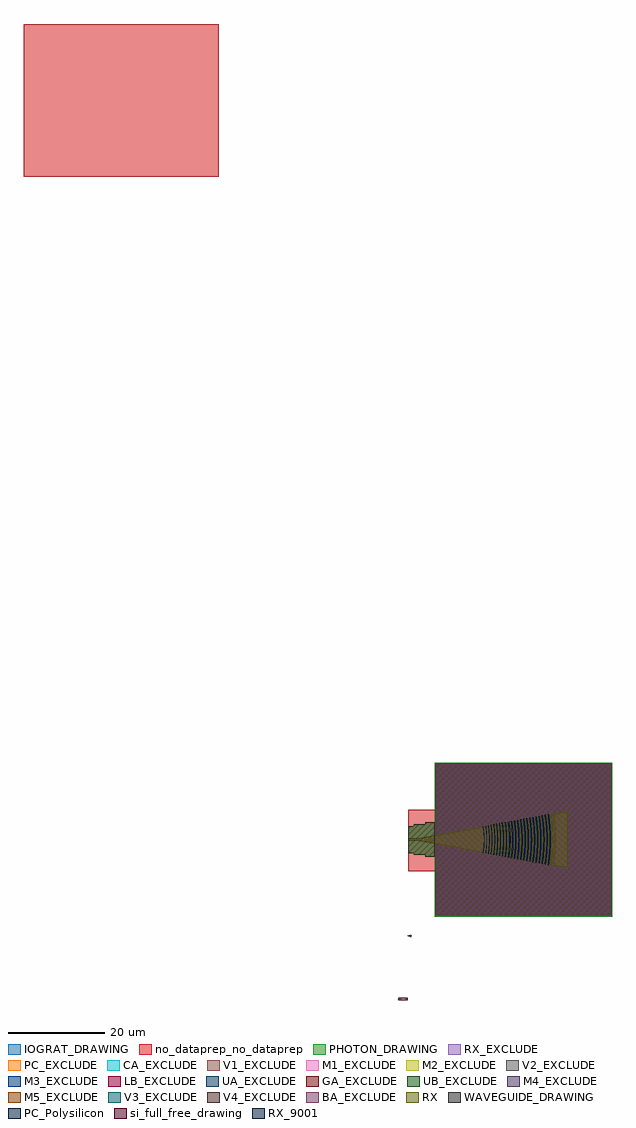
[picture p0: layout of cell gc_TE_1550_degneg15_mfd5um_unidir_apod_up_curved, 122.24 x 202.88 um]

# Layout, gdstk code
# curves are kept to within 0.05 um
import gdstk
lib = gdstk.Library(unit=1e-6, precision=1e-09)
def R(c, l, rs):  # rectangles x0, y0, x1, y1
    for r in rs: c.add(gdstk.rectangle(r[:2], r[2:], *l))
def P(c, l, *ps):  # polygons
    for p in ps: c.add(gdstk.Polygon(p, *l))
RX = (2, 0)
RX_EXCLUDE = (2, 2)
RX_9001 = (2, 9001)
PC_Polysilicon = (7, 0)
PC_EXCLUDE = (7, 2)
CA_EXCLUDE = (14, 2)
M1_EXCLUDE = (15, 2)
V1_EXCLUDE = (16, 3)
M2_EXCLUDE = (17, 2)
V2_EXCLUDE = (18, 3)
M3_EXCLUDE = (19, 2)
LB_EXCLUDE = (69, 2)
UA_EXCLUDE = (161, 2)
GA_EXCLUDE = (162, 2)
UB_EXCLUDE = (163, 2)
PHOTON_DRAWING = (212, 235)
WAVEGUIDE_DRAWING = (212, 239)
IOGRAT_DRAWING = (212, 252)
M4_EXCLUDE = (578, 2)
M5_EXCLUDE = (579, 2)
V3_EXCLUDE = (580, 2)
V4_EXCLUDE = (581, 2)
si_full_free_drawing = (1002, 100)
no_dataprep_no_dataprep = (1015, 0)
BA_EXCLUDE = (1560, 2)

gc_te_1550_degneg15_mfd5 = lib.new_cell('gc_TE_1550_degneg15_mfd5um_unidir_apod_up_curved$M0$')
R(gc_te_1550_degneg15_mfd5, RX_EXCLUDE, [(50,-157.6,414.2,157.6)])
P(gc_te_1550_degneg15_mfd5, RX_9001, [(-2.5,-202.5),(-10,-200),(-2.5,-197.5),(0,-200)])
R(gc_te_1550_degneg15_mfd5, PC_EXCLUDE, [(50,-157.6,414.2,157.6)])
R(gc_te_1550_degneg15_mfd5, CA_EXCLUDE, [(50,-157.6,414.2,157.6)])
R(gc_te_1550_degneg15_mfd5, M1_EXCLUDE, [(50,-157.6,414.2,157.6)])
R(gc_te_1550_degneg15_mfd5, V1_EXCLUDE, [(50,-157.6,414.2,157.6)])
R(gc_te_1550_degneg15_mfd5, M2_EXCLUDE, [(50,-157.6,414.2,157.6)])
R(gc_te_1550_degneg15_mfd5, V2_EXCLUDE, [(50,-157.6,414.2,157.6)])
R(gc_te_1550_degneg15_mfd5, M3_EXCLUDE, [(50,-157.6,414.2,157.6)])
R(gc_te_1550_degneg15_mfd5, LB_EXCLUDE, [(50,-157.6,414.2,157.6)])
R(gc_te_1550_degneg15_mfd5, UA_EXCLUDE, [(50,-157.6,414.2,157.6)])
R(gc_te_1550_degneg15_mfd5, GA_EXCLUDE, [(50,-157.6,414.2,157.6)])
R(gc_te_1550_degneg15_mfd5, UB_EXCLUDE, [(50,-157.6,414.2,157.6)])
R(gc_te_1550_degneg15_mfd5, M4_EXCLUDE, [(50,-157.6,414.2,157.6)])
R(gc_te_1550_degneg15_mfd5, M5_EXCLUDE, [(50,-157.6,414.2,157.6)])
R(gc_te_1550_degneg15_mfd5, V3_EXCLUDE, [(50,-157.6,414.2,157.6)])
R(gc_te_1550_degneg15_mfd5, V4_EXCLUDE, [(50,-157.6,414.2,157.6)])
R(gc_te_1550_degneg15_mfd5, no_dataprep_no_dataprep, [(-806.39,1378.23,-401.17,1695.43)])
R(gc_te_1550_degneg15_mfd5, BA_EXCLUDE, [(50,-157.6,414.2,157.6)])
gc_te_1550_degneg15_mfd5.add(gdstk.Label('sub!', (0,0), layer=61, texttype=31))
gc_te_1550_degneg15_mfd5.add(gdstk.Label('sub!', (0,0), layer=61, texttype=31))
gc_te_1550_degneg15_mfd5.add(gdstk.Label('PORT_IN', (0,0), layer=2, texttype=9001))
gc_te_1550_degneg15_mfd5.add(gdstk.Label('PORT_OUT', (0,-200), layer=2, texttype=9001))
gc_te_1550_degneg15_mfd5.add(gdstk.Label('PORT_OUT', (0,-200), layer=2, texttype=9001))
gc_te_1550_degneg15_mfd5.add(gdstk.Label('PORT_OUT', (0,0), layer=9015, texttype=9001))
gc_te_1550_degneg15_mfd5.add(gdstk.Label('GRATING_EDGE', (314.2,0), layer=9015, texttype=9001))
gc_te_1550_degneg15_mfd5.add(gdstk.Label('OTHERSIDE', (314.2,0), layer=9015, texttype=9001))

c_gc_te_1550_degneg15_mfd5 = lib.new_cell('gc_TE_1550_degneg15_mfd5um_unidir_apod_up_curved')
P(c_gc_te_1550_degneg15_mfd5, RX, [(15.395,-2.822),(1.364,-0.25),(-0.712,-0.25),(-0.712,0.25),(1.364,0.25),(15.395,2.822),(15.552,1.474),(15.61,0.087),(15.565,-1.301)],
  [(15.92,-2.919),(15.494,-2.84),(15.647,-1.542),(15.71,-0.087),(15.656,1.426),(15.494,2.84),(15.92,2.919),(16.088,1.525),(16.15,0.09),(16.088,-1.525)],
  [(16.472,-3.02),(16.058,-2.944),(16.237,-1.418),(16.29,-0.091),(16.237,1.418),(16.058,2.944),(16.472,3.02),(16.635,1.702),(16.71,0.093),(16.66,-1.392)],
  [(17.026,-3.121),(16.63,-3.049),(16.8,-1.656),(16.87,-0.094),(16.815,1.468),(16.63,3.049),(17.026,3.121),(17.204,1.631),(17.27,0.096),(17.214,-1.503)],
  [(17.6,-3.226),(17.223,-3.157),(17.403,-1.65),(17.47,-0.097),(17.418,1.456),(17.223,3.157),(17.6,3.226),(17.782,1.686),(17.85,0.099),(17.802,-1.421)],
  [(18.191,-3.335),(17.846,-3.272),(18.031,-1.709),(18.1,-0.101),(18.031,1.709),(17.846,3.272),(18.191,3.335),(18.385,1.674),(18.45,0.103),(18.385,-1.674)],
  [(18.794,-3.445),(18.457,-3.384),(18.643,-1.837),(18.72,-0.104),(18.654,1.699),(18.457,3.384),(18.794,3.445),(18.988,1.8),(19.06,0.106),(18.999,-1.659)],
  [(19.413,-3.559),(19.1,-3.501),(19.291,-1.901),(19.37,-0.108),(19.308,1.686),(19.1,3.501),(19.413,3.559),(19.615,1.86),(19.69,0.109),(19.615,-1.86)],
  [(20.033,-3.673),(19.708,-3.613),(19.914,-1.888),(19.99,-0.111),(19.914,1.888),(19.708,3.613),(20.033,3.673),(20.241,1.843),(20.31,0.113),(20.252,-1.693)],
  [(20.734,-3.801),(20.458,-3.75),(20.675,-1.805),(20.74,-0.115),(20.675,1.805),(20.458,3.75),(20.734,3.801),(20.95,1.986),(21.03,0.117),(20.968,-1.752)],
  [(21.354,-3.915),(21.07,-3.863),(21.295,-1.939),(21.37,-0.119),(21.307,1.781),(21.07,3.863),(21.354,3.915),(21.577,2.046),(21.66,0.12),(21.577,-2.046)],
  [(21.959,-4.026),(21.67,-3.973),(21.896,-2.076),(21.98,-0.122),(21.896,2.076),(21.67,3.973),(21.959,4.026),(22.179,2.186),(22.27,0.124),(22.192,-2.021)],
  [(22.6,-4.143),(22.314,-4.091),(22.551,-2.053),(22.63,-0.126),(22.551,2.053),(22.314,4.091),(22.6,4.143),(22.84,2.08),(22.92,0.127),(22.84,-2.08)],
  [(23.241,-4.261),(22.955,-4.208),(23.192,-2.199),(23.28,-0.129),(23.205,2.026),(22.955,4.208),(23.241,4.261),(23.481,2.226),(23.57,0.131),(23.481,-2.226)],
  [(23.882,-4.378),(23.596,-4.326),(23.832,-2.349),(23.93,-0.133),(23.853,2.083),(23.596,4.326),(23.882,4.378),(24.121,2.377),(24.22,0.135),(24.142,-2.108)],
  [(24.523,-4.496),(24.237,-4.443),(24.487,-2.321),(24.58,-0.137),(24.501,2.139),(24.237,4.443),(24.523,4.496),(24.776,2.349),(24.87,0.138),(24.797,-2.072)],
  [(25.163,-4.613),(24.877,-4.561),(25.142,-2.289),(25.23,-0.14),(25.149,2.196),(24.877,4.561),(25.163,4.613),(25.431,2.316),(25.52,0.142),(25.431,-2.316)],
  [(25.804,-4.731),(25.519,-4.678),(25.782,-2.444),(25.88,-0.144),(25.797,2.253),(25.519,4.678),(25.804,4.731),(26.071,2.472),(26.17,0.145),(26.086,-2.278)],
  [(26.445,-4.848),(26.16,-4.796),(26.437,-2.407),(26.53,-0.147),(26.452,2.211),(26.16,4.796),(26.445,4.848),(26.734,2.334),(26.82,0.149),(26.734,-2.334)],
  [(27.086,-4.966),(26.8,-4.913),(27.069,-2.668),(27.18,-0.151),(27.085,2.466),(26.8,4.913),(27.086,4.966),(27.366,2.594),(27.47,0.153),(27.374,-2.493)],
  [(27.727,-5.083),(27.441,-5.031),(27.716,-2.731),(27.83,-0.155),(27.748,2.319),(27.625,3.659),(27.441,5.031),(27.727,5.083),(28.005,2.76),(28.12,0.156),(28.037,-2.343),(27.913,-3.697)],
  [(28.368,-5.201),(28.082,-5.148),(28.372,-2.69),(28.48,-0.158),(28.396,2.373),(28.282,3.639),(28.082,5.148),(28.368,5.201),(28.661,2.717),(28.77,0.16),(28.685,-2.398),(28.558,-3.783)],
  [(29.009,-5.318),(28.723,-5.266),(29.011,-2.859),(29.13,-0.162),(29.108,1.241),(29.028,2.643),(28.723,5.266),(29.009,5.318),(29.317,2.67),(29.42,0.163),(29.405,-1.035),(29.317,-2.67)],
  [(31.42,-5.76),(29.364,-5.383),(29.676,-2.702),(29.78,-0.165),(29.676,2.702),(29.364,5.383),(31.42,5.76),(32.42,5.76),(32.42,-5.76)])
P(c_gc_te_1550_degneg15_mfd5, PC_Polysilicon, [(14.837,-2.761),(14.778,-2.75),(14.859,-2.194),(14.946,-1.361),(14.981,-0.806),(15,-0.083),(14.988,0.639),(14.962,1.139),(14.916,1.694),(14.866,2.139),(14.778,2.75),(14.837,2.761),(14.952,1.924),(15.022,1.143),(15.053,0.474),(15.056,-0.363),(15.006,-1.367),(14.919,-2.203)],
  [(15.369,-2.86),(15.31,-2.849),(15.429,-1.986),(15.484,-1.41),(15.528,-0.662),(15.54,-0.086),(15.528,0.662),(15.484,1.41),(15.429,1.986),(15.31,2.849),(15.369,2.86),(15.468,2.167),(15.544,1.416),(15.588,0.664),(15.6,0.087),(15.588,-0.664),(15.544,-1.416),(15.468,-2.167)],
  [(15.922,-2.963),(15.843,-2.948),(15.937,-2.293),(16.027,-1.4),(16.065,-0.744),(16.08,-0.089),(16.065,0.744),(16.027,1.4),(15.937,2.293),(15.843,2.948),(15.922,2.963),(16.024,2.244),(16.107,1.407),(16.145,0.748),(16.16,0.09),(16.145,-0.748),(16.107,-1.407),(16.024,-2.244)],
  [(16.475,-3.065),(16.386,-3.049),(16.498,-2.248),(16.566,-1.571),(16.615,-0.77),(16.63,-0.092),(16.615,0.77),(16.571,1.509),(16.498,2.248),(16.386,3.049),(16.475,3.065),(16.58,2.322),(16.645,1.703),(16.702,0.836),(16.72,0.093),(16.707,-0.712),(16.67,-1.393),(16.58,-2.322)],
  [(17.047,-3.172),(16.948,-3.153),(17.064,-2.325),(17.134,-1.624),(17.179,-0.924),(17.2,-0.096),(17.189,0.669),(17.144,1.497),(17.064,2.325),(16.948,3.153),(17.047,3.172),(17.163,2.339),(17.228,1.698),(17.284,0.801),(17.3,0.096),(17.289,-0.673),(17.248,-1.442),(17.163,-2.339)],
  [(17.639,-3.282),(17.521,-3.26),(17.64,-2.404),(17.712,-1.679),(17.764,-0.823),(17.78,-0.099),(17.764,0.823),(17.712,1.679),(17.64,2.404),(17.521,3.26),(17.639,3.282),(17.743,2.552),(17.826,1.757),(17.881,0.895),(17.9,0.099),(17.886,-0.762),(17.842,-1.558),(17.759,-2.42)],
  [(18.241,-3.394),(18.113,-3.37),(18.219,-2.621),(18.304,-1.804),(18.351,-1.123),(18.38,-0.102),(18.366,0.783),(18.315,1.668),(18.219,2.621),(18.113,3.37),(18.241,3.394),(18.348,2.639),(18.439,1.748),(18.496,0.788),(18.51,0.103),(18.496,-0.788),(18.45,-1.611),(18.356,-2.571)],
  [(18.863,-3.509),(18.715,-3.482),(18.833,-2.638),(18.912,-1.864),(18.987,-0.387),(18.984,0.528),(18.948,1.371),(18.857,2.427),(18.715,3.482),(18.863,3.509),(18.973,2.729),(19.067,1.808),(19.113,1.099),(19.14,0.106),(19.128,-0.744),(19.078,-1.666),(18.99,-2.587)],
  [(19.474,-3.623),(19.326,-3.595),(19.523,-1.997),(19.607,-0.399),(19.604,0.545),(19.552,1.634),(19.456,2.651),(19.326,3.595),(19.474,3.623),(19.605,2.671),(19.696,1.72),(19.76,0.11),(19.745,-0.842),(19.696,-1.72),(19.605,-2.671)],
  [(20.214,-3.76),(19.938,-3.709),(20.147,-1.986),(20.23,-0.112),(20.159,1.836),(19.938,3.709),(20.214,3.76),(20.432,1.937),(20.51,0.114),(20.444,-1.785)],
  [(20.807,-3.87),(20.56,-3.824),(20.781,-1.97),(20.86,-0.116),(20.793,1.816),(20.56,3.824),(20.807,3.87),(21.03,1.994),(21.11,0.117),(21.048,-1.759)],
  [(21.408,-3.982),(21.201,-3.943),(21.401,-2.35),(21.499,-0.757),(21.505,0.518),(21.452,1.713),(21.369,2.669),(21.201,3.943),(21.408,3.982),(21.638,2.051),(21.72,0.121),(21.697,-1.086),(21.638,-2.051)],
  [(22.049,-4.101),(21.842,-4.063),(22.04,-2.503),(22.151,-0.698),(22.155,0.533),(22.106,1.683),(21.997,2.914),(21.842,4.063),(22.049,4.101),(22.196,3.024),(22.292,2.03),(22.37,0.124),(22.35,-1.036),(22.292,-2.03),(22.196,-3.024)],
  [(22.689,-4.22),(22.482,-4.182),(22.702,-2.408),(22.803,-0.634),(22.803,0.634),(22.743,1.901),(22.642,2.999),(22.482,4.182),(22.689,4.22),(22.933,2.174),(23.02,0.128),(23.008,-0.81),(22.946,-2.004),(22.841,-3.112)],
  [(23.33,-4.34),(23.123,-4.301),(23.341,-2.563),(23.448,-0.825),(23.456,0.478),(23.397,1.868),(23.297,2.998),(23.123,4.301),(23.33,4.34),(23.573,2.323),(23.645,1.184),(23.67,0.131),(23.652,-1.008),(23.594,-2.06),(23.486,-3.2)],
  [(23.971,-4.459),(23.764,-4.42),(23.996,-2.545),(24.1,-0.759),(24.106,0.491),(24.057,1.741),(23.952,2.991),(23.764,4.42),(23.971,4.459),(24.131,3.288),(24.228,2.297),(24.32,0.135),(24.298,-1.126),(24.242,-2.117),(24.131,-3.288)],
  [(24.611,-4.578),(24.404,-4.539),(24.643,-2.614),(24.75,-0.779),(24.756,0.504),(24.711,1.697),(24.598,3.072),(24.404,4.539),(24.611,4.578),(24.868,2.451),(24.935,1.433),(24.97,0.139),(24.951,-1.064),(24.89,-2.173),(24.765,-3.468)],
  [(25.252,-4.697),(25.045,-4.658),(25.298,-2.588),(25.402,-0.706),(25.406,0.518),(25.348,1.929),(25.223,3.341),(25.045,4.658),(25.252,4.697),(25.398,3.653),(25.523,2.42),(25.589,1.376),(25.62,0.142),(25.597,-1.186),(25.523,-2.42),(25.398,-3.653)],
  [(25.893,-4.816),(25.686,-4.778),(25.928,-2.847),(26.054,-0.627),(26.054,0.627),(25.99,2.075),(25.879,3.33),(25.686,4.778),(25.893,4.816),(26.054,3.649),(26.178,2.384),(26.27,0.146),(26.25,-1.119),(26.178,-2.384),(26.054,-3.649)],
  [(26.533,-4.935),(26.326,-4.897),(26.565,-3.017),(26.699,-0.841),(26.707,0.445),(26.651,1.929),(26.535,3.314),(26.326,4.897),(26.533,4.935),(26.687,3.839),(26.81,2.642),(26.887,1.446),(26.92,0.15),(26.903,-1.047),(26.826,-2.443),(26.699,-3.739)],
  [(27.174,-5.054),(26.967,-5.016),(27.221,-2.989),(27.351,-0.76),(27.351,0.76),(27.293,2.077),(27.17,3.496),(26.967,5.016),(27.174,5.054),(27.331,3.931),(27.457,2.706),(27.541,1.378),(27.57,0.153),(27.549,-1.174),(27.489,-2.298),(27.367,-3.625)],
  [(27.815,-5.174),(27.608,-5.135),(27.868,-3.06),(28.001,-0.778),(28.007,0.467),(27.948,2.023),(27.804,3.683),(27.608,5.135),(27.815,5.174),(27.988,3.919),(28.113,2.665),(28.19,1.411),(28.22,0.157),(28.202,-1.097),(28.137,-2.352),(28.024,-3.606)],
  [(28.455,-5.293),(28.248,-5.254),(28.524,-3.025),(28.651,-0.796),(28.651,0.796),(28.583,2.282),(28.461,3.662),(28.248,5.254),(28.455,5.293),(28.633,4.01),(28.752,2.834),(28.835,1.55),(28.87,0.16),(28.848,-1.23),(28.769,-2.62),(28.633,-4.01)])
P(c_gc_te_1550_degneg15_mfd5, PHOTON_DRAWING, [(4.8,-16),(4.8,-3.6),(2.8,-3.6),(2.8,-3.2),(0.4,-3.2),(0.4,-2.8),(-0.712,-2.8),(-0.712,2.8),(0.4,2.8),(0.4,3.2),(2.8,3.2),(2.8,3.6),(4.8,3.6),(4.8,16),(41.6,16),(41.6,-16)])
P(c_gc_te_1550_degneg15_mfd5, WAVEGUIDE_DRAWING, [(2.8,-3.6),(2.8,-3.2),(0.4,-3.2),(0.4,-2.8),(-0.712,-2.8),(-0.712,2.8),(0.4,2.8),(0.4,3.2),(2.8,3.2),(2.8,3.6),(4.8,3.6),(4.8,-3.6)])
R(c_gc_te_1550_degneg15_mfd5, IOGRAT_DRAWING, [(4.9,-15.86,41.52,15.86), (4.9,-15.86,41.52,15.86)])
R(c_gc_te_1550_degneg15_mfd5, si_full_free_drawing, [(-2.839,-33.342,-0.839,-32.842)])
R(c_gc_te_1550_degneg15_mfd5, no_dataprep_no_dataprep, [(-0.727,-6.592,33.823,6.229)])
c_gc_te_1550_degneg15_mfd5.add(gdstk.Reference(gc_te_1550_degneg15_mfd5, (0,0), magnification=0.1))

lib.write_gds('gc_TE_1550_degneg15_mfd5um_unidir_apod_up_curved.gds')
